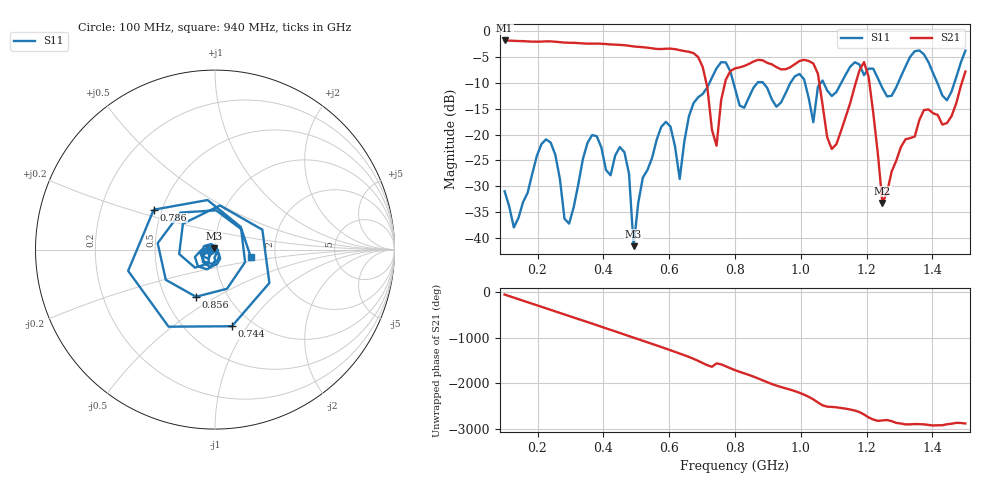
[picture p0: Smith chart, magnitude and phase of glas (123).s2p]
! NanoVNA-App
! Date: 2025-09-25 15:56:26
! Start: 100MHz Stop: 1,5GHz Points: 101
! S-Parameter data: F S11 S21 S12 S22
# Hz S RI R 50
!  Frequency  S11_Real  S11_Imag  S21_Real  S21_Imag  S12_Real  S12_Imag  S22_Real  S22_Imag
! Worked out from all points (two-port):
!   101 points, 100 MHz to 1.5 GHz, reference 50 ohm
!   highest |S21| = -1.80 dB at 100 MHz (marker M1); lowest = -33.2 dB at 1.248 GHz (marker M2)
!   |S21| within 3 dB of the highest: start of sweep to 684.3 MHz
!   lowest |S11| = -41.6 dB at 492 MHz (marker M3), VSWR 1.02, Z = 49.5 + j0.657 ohm
!   |S11| at or under -10 dB: start of sweep to 722.5 MHz; 795.4 MHz to 868.1 MHz (72.7 MHz wide, 8.74 % of centre); 885.7 MHz to 968.3 MHz (82.56 MHz wide, 8.91 % of centre)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
!   S12 and S22 are empty: the file has one direction only
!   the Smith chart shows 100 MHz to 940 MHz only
!   S11 on the Smith chart (normalised r, x): 100 MHz: 0.95, -0.01; 744 MHz: 0.81, -0.85; 786 MHz: 0.45, +0.24; 856 MHz: 0.71, -0.41; 940 MHz: 1.49, -0.14
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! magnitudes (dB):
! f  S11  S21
! 100 MHz  -31.0  -1.8
! 128 MHz  -37.9  -1.9
! 226 MHz  -20.9  -2.0
! 296 MHz  -37.2  -2.2
! 338 MHz  -24.7  -2.4
! 464 MHz  -23.4  -2.7
! 492 MHz  -41.6  -3.0
! 576 MHz  -18.5  -3.5
! 632 MHz  -28.6  -3.7
! 702 MHz  -12.1  -7.0
! 744 MHz  -7.2  -22.1
! 786 MHz  -7.8  -7.7
! 800 MHz  -11.1  -7.2
! 856 MHz  -11.0  -5.9
! 940 MHz  -13.8  -7.4
! 996 MHz  -8.3  -5.8
! 1.038 GHz  -17.6  -6.2
! 1.094 GHz  -12.5  -22.8
! 1.192 GHz  -8.5  -6.0
! 1.248 GHz  -11.0  -33.2
! 1.276 GHz  -12.5  -27.1
! 1.5 GHz  -3.8  -7.8
